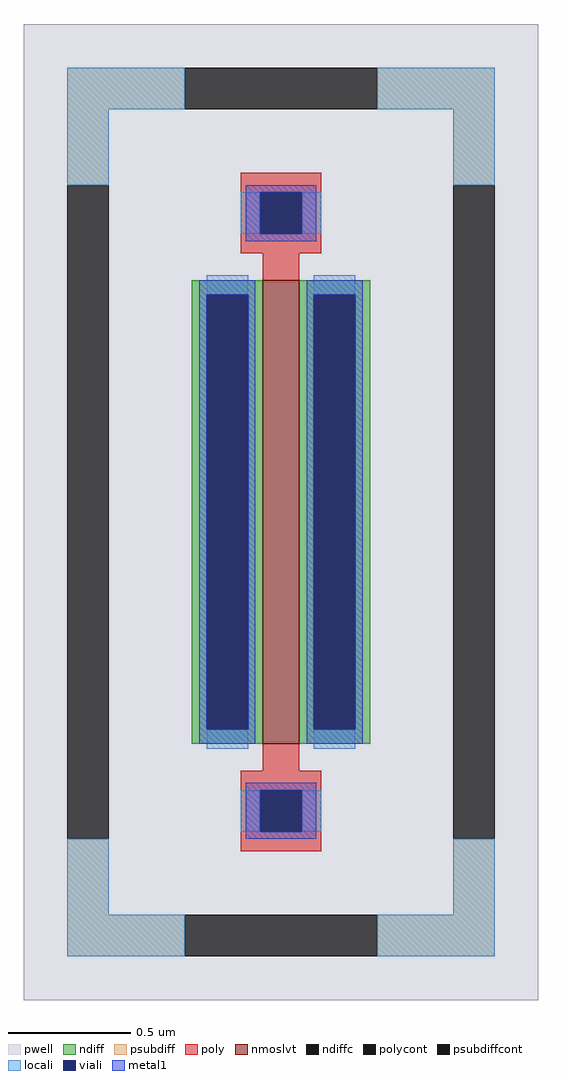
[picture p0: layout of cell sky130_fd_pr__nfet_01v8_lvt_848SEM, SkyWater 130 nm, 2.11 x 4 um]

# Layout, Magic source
magic
tech sky130A
magscale 1 2
<< pwell >>
rect -211 -400 211 400
<< nmoslvt >>
rect -15 -190 15 190
<< ndiff >>
rect -73 178 -15 190
rect -73 -178 -61 178
rect -27 -178 -15 178
rect -73 -190 -15 -178
rect 15 178 73 190
rect 15 -178 27 178
rect 61 -178 73 178
rect 15 -190 73 -178
<< ndiffc >>
rect -61 -178 -27 178
rect 27 -178 61 178
<< psubdiff >>
rect -175 330 -79 364
rect 79 330 175 364
rect -175 268 -141 330
rect 141 268 175 330
rect -175 -330 -141 -268
rect 141 -330 175 -268
rect -175 -364 -79 -330
rect 79 -364 175 -330
<< psubdiffcont >>
rect -79 330 79 364
rect -175 -268 -141 268
rect 141 -268 175 268
rect -79 -364 79 -330
<< poly >>
rect -33 262 33 278
rect -33 228 -17 262
rect 17 228 33 262
rect -33 212 33 228
rect -15 190 15 212
rect -15 -212 15 -190
rect -33 -228 33 -212
rect -33 -262 -17 -228
rect 17 -262 33 -228
rect -33 -278 33 -262
<< polycont >>
rect -17 228 17 262
rect -17 -262 17 -228
<< locali >>
rect -175 330 -79 364
rect 79 330 175 364
rect -175 268 -141 330
rect 141 268 175 330
rect -33 228 -17 262
rect 17 228 33 262
rect -61 178 -27 194
rect -61 -194 -27 -178
rect 27 178 61 194
rect 27 -194 61 -178
rect -33 -262 -17 -228
rect 17 -262 33 -228
rect -175 -330 -141 -268
rect 141 -330 175 -268
rect -175 -364 -79 -330
rect 79 -364 175 -330
<< viali >>
rect -17 228 17 262
rect -61 -178 -27 178
rect 27 -178 61 178
rect -17 -262 17 -228
<< metal1 >>
rect -29 262 29 268
rect -29 228 -17 262
rect 17 228 29 262
rect -29 222 29 228
rect -67 178 -21 190
rect -67 -178 -61 178
rect -27 -178 -21 178
rect -67 -190 -21 -178
rect 21 178 67 190
rect 21 -178 27 178
rect 61 -178 67 178
rect 21 -190 67 -178
rect -29 -228 29 -222
rect -29 -262 -17 -228
rect 17 -262 29 -228
rect -29 -268 29 -262
<< properties >>
string FIXED_BBOX -158 -347 158 347
string gencell sky130_fd_pr__nfet_01v8_lvt
string library sky130
string parameters w 1.9 l 0.15 m 1 nf 1 diffcov 100 polycov 100 guard 1 glc 1 grc 1 gtc 1 gbc 1 tbcov 100 rlcov 100 topc 1 botc 1 poverlap 0 doverlap 1 lmin 0.15 wmin 0.42 compatible {sky130_fd_pr__nfet_01v8 sky130_fd_pr__nfet_01v8_lvt  sky130_fd_bs_flash__special_sonosfet_star  sky130_fd_pr__nfet_g5v0d10v5 sky130_fd_pr__nfet_05v0_nvt  sky130_fd_pr__nfet_03v3_nvt} full_metal 1 viasrc 100 viadrn 100 viagate 100 viagb 0 viagr 0 viagl 0 viagt 0
<< end >>
